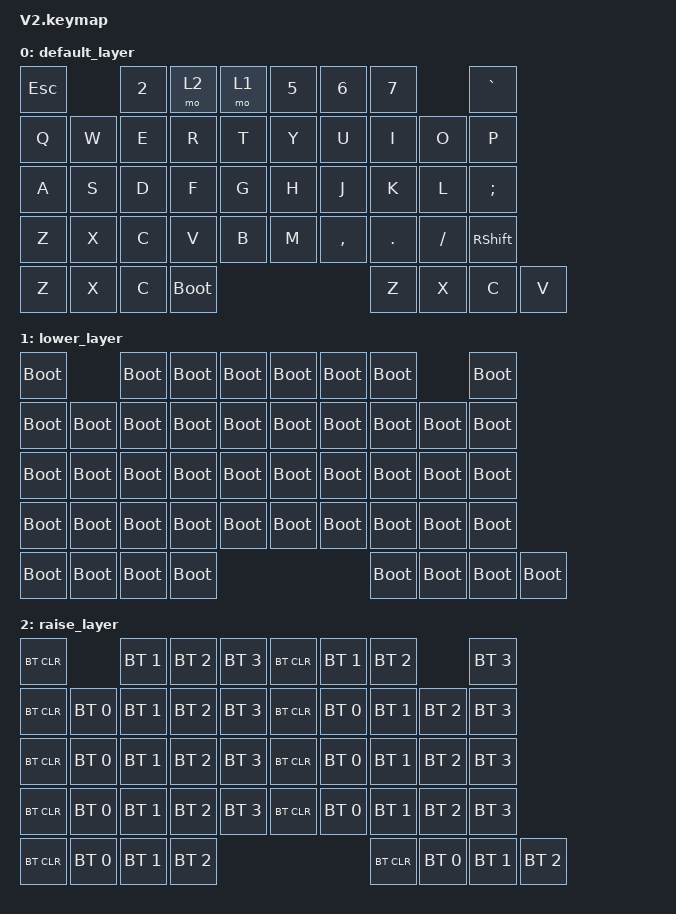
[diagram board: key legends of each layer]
/*
 * Copyright (c) 2020 The ZMK Contributors
 *
 * SPDX-License-Identifier: MIT
 */

#include <behaviors.dtsi>
#include <dt-bindings/zmk/keys.h>
#include <dt-bindings/zmk/bt.h>

/ {
    keymap {
        compatible = "zmk,keymap";

        default_layer {
            bindings = <
&kp ESC         &kp N2 &mo 2    &mo 1        &kp N5  &kp N6 &kp N7          &kp GRAVE
&kp Q    &kp W  &kp E  &kp R    &kp T        &kp Y   &kp U  &kp I   &kp O   &kp P     
&kp A    &kp S  &kp D  &kp F    &kp G        &kp H   &kp J  &kp K   &kp L   &kp SEMI 
&kp Z    &kp X  &kp C  &kp V    &kp B        &kp M   &kp COMMA &kp DOT &kp FSLH &kp RSHFT
&kp Z    &kp X  &kp C  &bootloader                        &kp Z    &kp X  &kp C  &kp V        
            >;
        };

        lower_layer {
            bindings = <
&bootloader                   &bootloader    &bootloader    &bootloader       &bootloader    &bootloader    &bootloader                  &bootloader
&bootloader    &bootloader    &bootloader    &bootloader    &bootloader       &bootloader    &bootloader    &bootloader    &bootloader    &bootloader    
&bootloader    &bootloader    &bootloader    &bootloader    &bootloader       &bootloader    &bootloader    &bootloader    &bootloader    &bootloader    
&bootloader    &bootloader    &bootloader    &bootloader    &bootloader       &bootloader    &bootloader    &bootloader    &bootloader    &bootloader    
&bootloader    &bootloader    &bootloader    &bootloader                                     &bootloader    &bootloader    &bootloader    &bootloader    
            >;
        };

        raise_layer {
            bindings = <
&bt BT_CLR        &bt BT_SEL 1 &bt BT_SEL 2 &bt BT_SEL 3            &bt BT_CLR  &bt BT_SEL 1 &bt BT_SEL 2          &bt BT_SEL 3 
&bt BT_CLR &bt BT_SEL 0 &bt BT_SEL 1 &bt BT_SEL 2 &bt BT_SEL 3     &bt BT_CLR &bt BT_SEL 0 &bt BT_SEL 1 &bt BT_SEL 2 &bt BT_SEL 3 
&bt BT_CLR &bt BT_SEL 0 &bt BT_SEL 1 &bt BT_SEL 2 &bt BT_SEL 3      &bt BT_CLR &bt BT_SEL 0 &bt BT_SEL 1 &bt BT_SEL 2 &bt BT_SEL 3 
&bt BT_CLR &bt BT_SEL 0 &bt BT_SEL 1 &bt BT_SEL 2 &bt BT_SEL 3       &bt BT_CLR &bt BT_SEL 0 &bt BT_SEL 1 &bt BT_SEL 2 &bt BT_SEL 3 
&bt BT_CLR &bt BT_SEL 0 &bt BT_SEL 1 &bt BT_SEL 2                                 &bt BT_CLR &bt BT_SEL 0 &bt BT_SEL 1 &bt BT_SEL 2 
            >;
        };
    };
};
